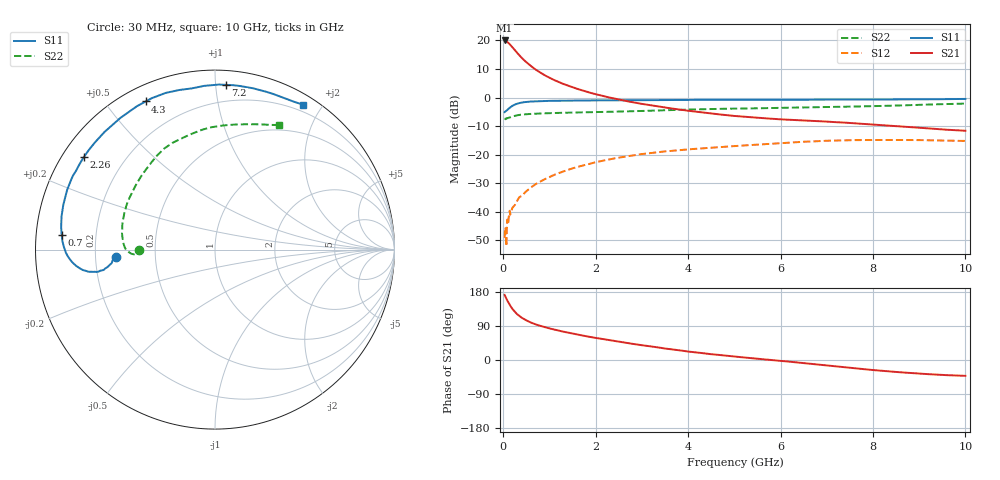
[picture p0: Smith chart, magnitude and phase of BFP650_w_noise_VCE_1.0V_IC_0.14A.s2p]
! Infineon Technologies  Discrete & RF Semiconductors
! BFP650
! VCE =  1.0 V,  IC = 0.14 A
! Common Emitter S-Parameters:  Jan 2016
# GHz  S  MA  R  50
!  f  S11  S21  S12  S22
! GHz  MAG  ANG  MAG  ANG  MAG  ANG  MAG  ANG
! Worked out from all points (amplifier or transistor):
!   229 points, 30 MHz to 10 GHz, reference 50 ohm
!   highest |S21| = 20.0 dB at 30 MHz (marker M1)
!   |S21| within 3 dB of that: start of sweep to 231.1 MHz
!   unconditionally stable (mu >= 1): start of sweep to end of sweep
!   at 280 MHz: K = 2.14, MAG = 20.4 dB, |S12| = -36.8 dB
!   at 1.78 GHz: K = 1.37, MAG = 9.2 dB, |S12| = -23.6 dB
!   at 10 GHz: K = 1.20, MAG = -0.9 dB, |S12| = -15.2 dB
!   lowest NFmin = 1.78 dB at 450 MHz
!   S11 on the Smith chart (normalised r, x): 30 MHz: 0.29, -0.03; 700 MHz: 0.08, +0.05; 2.26 GHz: 0.06, +0.32; 4.3 GHz: 0.07, +0.63; 7.2 GHz: 0.09, +1.06; 10 GHz: 0.12, +1.77
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0.03  0.5557 -175.7  9.973 171.7  0.0035 29.8  0.4246 -179.5
0.05  0.5736 -174.1  9.737 166.6  0.0051 40.0  0.4164 -178.2
0.07  0.5904 -171.9  9.604 161.6  0.0025 46.7  0.4346 -177.9
0.08  0.5979 -171.4  9.49 158.9  0.0055 40.2  0.432 -177.5
0.09  0.6064 -170.8  9.355 156.6  0.0073 43.2  0.4349 -177.4
0.11  0.6288 -169.7  9.062 152.0  0.0061 52.8  0.441 -176.5
0.15  0.6702 -169.3  8.399 143.6  0.0089 55.1  0.4527 -176.7
0.2  0.716 -170.1  7.566 134.5  0.0118 57.8  0.4663 -177.1
0.3  0.7788 -173.3  6.074 121.0  0.0153 58.6  0.4877 -179.2
0.4  0.8159 -176.8  4.956 111.5  0.0188 60.8  0.5031 178.6
0.5  0.8374 180.0  4.149 104.3  0.0229 62.4  0.5112 176.2
0.7  0.858 174.6  3.084 94.0  0.0304 62.9  0.5216 171.9
1.1  0.8772 165.9  2.027 80.4  0.0442 61.5  0.536 164.3
1.7  0.8909 154.4  1.339 65.0  0.0636 55.5  0.5501 154.5
2.26  0.8944 144.9  1.017 53.2  0.0816 49.3  0.5612 145.5
3.4  0.9013 127.2  0.688 32.3  0.1115 35.2  0.5933 129.0
4.3  0.9112 115.1  0.548 18.3  0.1289 25.0  0.624 118.5
5.1  0.9139 106.5  0.469 8.0  0.143 17.4  0.6413 110.6
6.8  0.9167 90.7  0.386 -11.8  0.172 -0.0  0.6776 93.3
7.2  0.9198 86.2  0.37 -16.8  0.1766 -4.7  0.6858 89.5
8.4  0.9245 71.9  0.32 -30.6  0.1807 -17.8  0.7196 76.0
10  0.9449 58.7  0.262 -41.8  0.1737 -29.7  0.783 62.7
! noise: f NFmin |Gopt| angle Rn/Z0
0.45  1.78  0.64  -171  0.06
0.9  1.8  0.65  -164  0.07
1.9  1.98  0.67  -149  0.12
2.4  2.15  0.65  -140  0.18
3.5  2.42  0.65  -118  0.33
